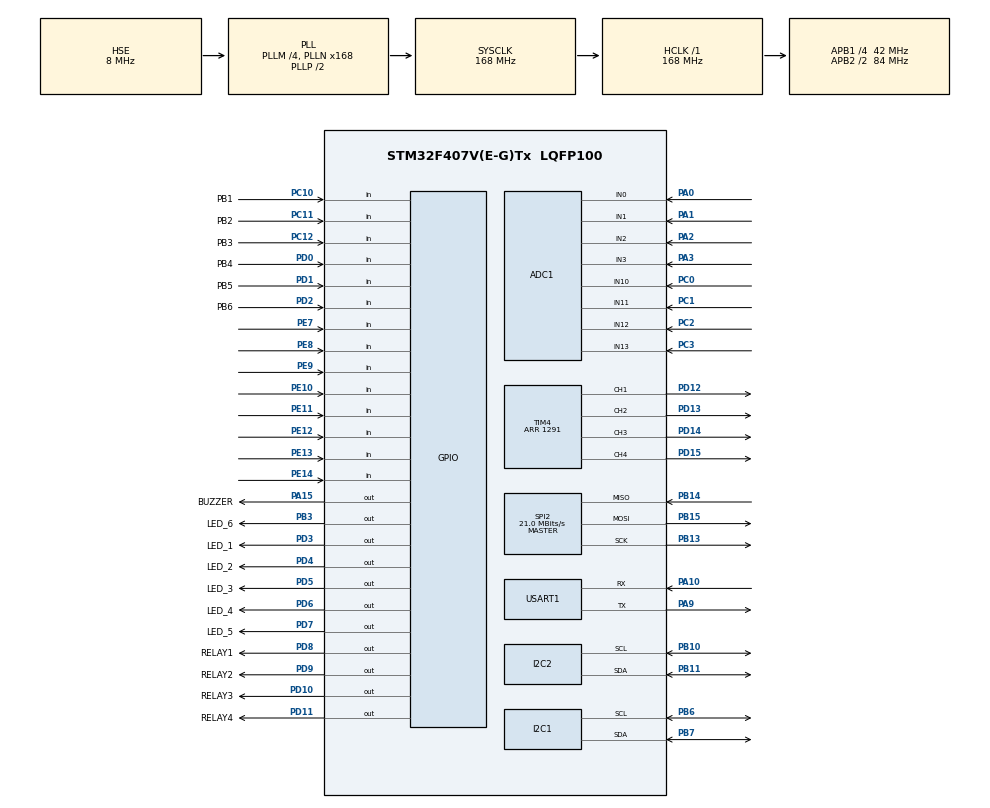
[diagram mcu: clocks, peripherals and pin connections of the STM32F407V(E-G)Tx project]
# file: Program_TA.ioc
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ADC1.Channel-0\#ChannelRegularConversion=ADC_CHANNEL_0
ADC1.Channel-2\#ChannelRegularConversion=ADC_CHANNEL_1
ADC1.Channel-3\#ChannelRegularConversion=ADC_CHANNEL_2
ADC1.Channel-4\#ChannelRegularConversion=ADC_CHANNEL_3
ADC1.Channel-5\#ChannelRegularConversion=ADC_CHANNEL_10
ADC1.Channel-6\#ChannelRegularConversion=ADC_CHANNEL_11
ADC1.Channel-7\#ChannelRegularConversion=ADC_CHANNEL_12
ADC1.Channel-8\#ChannelRegularConversion=ADC_CHANNEL_13
ADC1.ClockPrescaler=ADC_CLOCK_SYNC_PCLK_DIV4
ADC1.ContinuousConvMode=ENABLE
ADC1.DMAContinuousRequests=ENABLE
ADC1.InjNumberOfConversion=0
ADC1.NbrOfConversion=8
ADC1.NbrOfConversionFlag=1
ADC1.Rank-0\#ChannelRegularConversion=1
ADC1.Rank-2\#ChannelRegularConversion=2
ADC1.Rank-3\#ChannelRegularConversion=3
ADC1.Rank-4\#ChannelRegularConversion=4
ADC1.Rank-5\#ChannelRegularConversion=5
ADC1.Rank-6\#ChannelRegularConversion=6
ADC1.Rank-7\#ChannelRegularConversion=7
ADC1.Rank-8\#ChannelRegularConversion=8
ADC1.SamplingTime-0\#ChannelRegularConversion=ADC_SAMPLETIME_480CYCLES
ADC1.SamplingTime-2\#ChannelRegularConversion=ADC_SAMPLETIME_480CYCLES
ADC1.SamplingTime-3\#ChannelRegularConversion=ADC_SAMPLETIME_480CYCLES
ADC1.SamplingTime-4\#ChannelRegularConversion=ADC_SAMPLETIME_480CYCLES
ADC1.SamplingTime-5\#ChannelRegularConversion=ADC_SAMPLETIME_480CYCLES
ADC1.SamplingTime-6\#ChannelRegularConversion=ADC_SAMPLETIME_480CYCLES
ADC1.SamplingTime-7\#ChannelRegularConversion=ADC_SAMPLETIME_480CYCLES
ADC1.SamplingTime-8\#ChannelRegularConversion=ADC_SAMPLETIME_480CYCLES
ADC1.ScanConvMode=ENABLE
ADC1.master=1
Dma.ADC1.0.Direction=DMA_PERIPH_TO_MEMORY
Dma.ADC1.0.FIFOMode=DMA_FIFOMODE_DISABLE
Dma.ADC1.0.Instance=DMA2_Stream0
Dma.ADC1.0.MemDataAlignment=DMA_MDATAALIGN_HALFWORD
Dma.ADC1.0.MemInc=DMA_MINC_ENABLE
Dma.ADC1.0.Mode=DMA_CIRCULAR
Dma.ADC1.0.PeriphDataAlignment=DMA_PDATAALIGN_HALFWORD
Dma.ADC1.0.PeriphInc=DMA_PINC_DISABLE
Dma.ADC1.0.Priority=DMA_PRIORITY_LOW
Dma.Request0=ADC1
Dma.Request1=USART1_RX
Dma.Request2=USART1_TX
Dma.USART1_RX.1.Direction=DMA_PERIPH_TO_MEMORY
Dma.USART1_RX.1.FIFOMode=DMA_FIFOMODE_DISABLE
Dma.USART1_RX.1.Instance=DMA2_Stream2
Dma.USART1_RX.1.MemDataAlignment=DMA_MDATAALIGN_BYTE
Dma.USART1_RX.1.MemInc=DMA_MINC_ENABLE
Dma.USART1_RX.1.Mode=DMA_CIRCULAR
Dma.USART1_RX.1.PeriphDataAlignment=DMA_PDATAALIGN_BYTE
Dma.USART1_RX.1.PeriphInc=DMA_PINC_DISABLE
Dma.USART1_RX.1.Priority=DMA_PRIORITY_LOW
Dma.USART1_TX.2.Direction=DMA_MEMORY_TO_PERIPH
Dma.USART1_TX.2.FIFOMode=DMA_FIFOMODE_DISABLE
Dma.USART1_TX.2.Instance=DMA2_Stream7
Dma.USART1_TX.2.MemDataAlignment=DMA_MDATAALIGN_BYTE
Dma.USART1_TX.2.MemInc=DMA_MINC_ENABLE
Dma.USART1_TX.2.Mode=DMA_CIRCULAR
Dma.USART1_TX.2.PeriphDataAlignment=DMA_PDATAALIGN_BYTE
Dma.USART1_TX.2.PeriphInc=DMA_PINC_DISABLE
Dma.USART1_TX.2.Priority=DMA_PRIORITY_LOW
Mcu.Family=STM32F4
Mcu.Name=STM32F407V(E-G)Tx
Mcu.Package=LQFP100
NVIC.DMA2_Stream0_IRQn=true\:0\:0\:false\:false\:true\:false\:true\:true
NVIC.DMA2_Stream2_IRQn=true\:0\:0\:false\:false\:true\:false\:true\:true
NVIC.DMA2_Stream7_IRQn=true\:0\:0\:false\:false\:true\:false\:true\:true
NVIC.PriorityGroup=NVIC_PRIORITYGROUP_4
NVIC.TIM1_BRK_TIM9_IRQn=true\:0\:0\:false\:false\:true\:true\:true\:true
NVIC.USART1_IRQn=true\:0\:0\:false\:false\:true\:true\:true\:true
PA0-WKUP.Signal=ADCx_IN0
PA1.Signal=ADCx_IN1
PA10.Mode=Asynchronous
PA10.Signal=USART1_RX
PA13.Mode=Serial_Wire
PA13.Signal=SYS_JTMS-SWDIO
PA14.Mode=Serial_Wire
PA14.Signal=SYS_JTCK-SWCLK
PA15.GPIO_Label=BUZZER
PA15.PinState=GPIO_PIN_SET
PA15.Signal=GPIO_Output
PA2.Signal=ADCx_IN2
PA3.Signal=ADCx_IN3
PA9.Mode=Asynchronous
PA9.Signal=USART1_TX
PB10.Mode=I2C
PB10.Signal=I2C2_SCL
PB11.Mode=I2C
PB11.Signal=I2C2_SDA
PB13.Mode=Full_Duplex_Master
PB13.Signal=SPI2_SCK
PB14.Mode=Full_Duplex_Master
PB14.Signal=SPI2_MISO
PB15.Mode=Full_Duplex_Master
PB15.Signal=SPI2_MOSI
PB3.GPIO_Label=LED_6
PB3.Signal=GPIO_Output
PB6.Mode=I2C
PB6.Signal=I2C1_SCL
PB7.Mode=I2C
PB7.Signal=I2C1_SDA
PC0.Signal=ADCx_IN10
PC1.Signal=ADCx_IN11
PC10.GPIO_Label=PB1
PC10.GPIO_PuPd=GPIO_PULLUP
PC10.Signal=GPIO_Input
PC11.GPIO_Label=PB2
PC11.GPIO_PuPd=GPIO_PULLUP
PC11.Signal=GPIO_Input
PC12.GPIO_Label=PB3
PC12.GPIO_PuPd=GPIO_PULLUP
PC12.Signal=GPIO_Input
PC2.Signal=ADCx_IN12
PC3.Signal=ADCx_IN13
PD0.GPIO_Label=PB4
PD0.GPIO_PuPd=GPIO_PULLUP
PD0.Signal=GPIO_Input
PD1.GPIO_Label=PB5
PD1.GPIO_PuPd=GPIO_PULLUP
PD1.Signal=GPIO_Input
PD10.GPIO_Label=RELAY3
PD10.Signal=GPIO_Output
PD11.GPIO_Label=RELAY4
PD11.Signal=GPIO_Output
PD12.Signal=S_TIM4_CH1
PD13.Signal=S_TIM4_CH2
PD14.Signal=S_TIM4_CH3
PD15.Signal=S_TIM4_CH4
PD2.GPIO_Label=PB6
PD2.GPIO_PuPd=GPIO_PULLUP
PD2.Signal=GPIO_Input
PD3.GPIO_Label=LED_1
PD3.Signal=GPIO_Output
PD4.GPIO_Label=LED_2
PD4.Signal=GPIO_Output
PD5.GPIO_Label=LED_3
PD5.Signal=GPIO_Output
PD6.GPIO_Label=LED_4
PD6.Signal=GPIO_Output
PD7.GPIO_Label=LED_5
PD7.Signal=GPIO_Output
PD8.GPIO_Label=RELAY1
PD8.Signal=GPIO_Output
PD9.GPIO_Label=RELAY2
PD9.Signal=GPIO_Output
PE10.Signal=GPIO_Input
PE11.Signal=GPIO_Input
PE12.Signal=GPIO_Input
PE13.Signal=GPIO_Input
PE14.Signal=GPIO_Input
PE7.Signal=GPIO_Input
PE8.Signal=GPIO_Input
PE9.Signal=GPIO_Input
PH0-OSC_IN.Mode=HSE-External-Oscillator
PH0-OSC_IN.Signal=RCC_OSC_IN
PH1-OSC_OUT.Mode=HSE-External-Oscillator
PH1-OSC_OUT.Signal=RCC_OSC_OUT
ProjectManager.HeapSize=0x200
ProjectManager.StackSize=0x400
ProjectManager.TargetToolchain=CMake
RCC.48MHZClocksFreq_Value=84000000
RCC.AHBFreq_Value=168000000
RCC.APB1CLKDivider=RCC_HCLK_DIV4
RCC.APB1Freq_Value=42000000
RCC.APB1TimFreq_Value=84000000
RCC.APB2CLKDivider=RCC_HCLK_DIV2
RCC.APB2Freq_Value=84000000
RCC.APB2TimFreq_Value=168000000
RCC.CortexFreq_Value=168000000
RCC.HCLKFreq_Value=168000000
RCC.HSE_VALUE=8000000
RCC.HSI_VALUE=16000000
RCC.LSE_VALUE=32768
RCC.PLLM=4
RCC.PLLN=168
RCC.PLLSourceVirtual=RCC_PLLSOURCE_HSE
RCC.SYSCLKFreq_VALUE=168000000
RCC.SYSCLKSource=RCC_SYSCLKSOURCE_PLLCLK
RCC.VCOOutputFreq_Value=336000000
SH.ADCx_IN0.0=ADC1_IN0,IN0
SH.ADCx_IN1.0=ADC1_IN1,IN1
SH.ADCx_IN10.0=ADC1_IN10,IN10
SH.ADCx_IN11.0=ADC1_IN11,IN11
SH.ADCx_IN12.0=ADC1_IN12,IN12
SH.ADCx_IN13.0=ADC1_IN13,IN13
SH.ADCx_IN2.0=ADC1_IN2,IN2
SH.ADCx_IN3.0=ADC1_IN3,IN3
SH.S_TIM4_CH1.0=TIM4_CH1,PWM Generation1 CH1
SH.S_TIM4_CH2.0=TIM4_CH2,PWM Generation2 CH2
SH.S_TIM4_CH3.0=TIM4_CH3,PWM Generation3 CH3
SH.S_TIM4_CH4.0=TIM4_CH4,PWM Generation4 CH4
SPI2.BaudRatePrescaler=SPI_BAUDRATEPRESCALER_2
SPI2.CalculateBaudRate=21.0 MBits/s
SPI2.Direction=SPI_DIRECTION_2LINES
SPI2.Mode=SPI_MODE_MASTER
SPI2.VirtualType=VM_MASTER
TIM4.AutoReloadPreload=TIM_AUTORELOAD_PRELOAD_ENABLE
TIM4.Channel-PWM\ Generation1\ CH1=TIM_CHANNEL_1
TIM4.Channel-PWM\ Generation2\ CH2=TIM_CHANNEL_2
TIM4.Channel-PWM\ Generation3\ CH3=TIM_CHANNEL_3
TIM4.Channel-PWM\ Generation4\ CH4=TIM_CHANNEL_4
TIM4.Period=1291
TIM9.AutoReloadPreload=TIM_AUTORELOAD_PRELOAD_ENABLE
TIM9.Period=99
TIM9.Prescaler=16799
USART1.VirtualMode=VM_ASYNC
VP_TIM4_VS_ClockSourceINT.Mode=Internal
VP_TIM9_VS_ClockSourceINT.Mode=Internal
board=custom

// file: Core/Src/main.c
/* USER CODE BEGIN Header */
/**
 ******************************************************************************
 * @file           : main.c
 * @brief          : Hardware Controlled MPPT + Anti-EMI Debounce + Slow GMPP Sweep + UART RX
 ******************************************************************************
 */
/* USER CODE END Header */
#include "main.h"

/* USER CODE BEGIN Includes */
#include <math.h>
#include "stdlib.h"
#include "string.h"
#include "stdio.h"
#include "i2c_lcd.h"
#include "mppt_algo.h"
/* USER CODE END Includes */

/* USER CODE BEGIN PD */
const uint32_t PWM_PERIOD_TICKS = 1291;
#define LCD_I2C_ADDRESS 0x27
#define UART_TX_INTERVAL_MS 100U
#define LCD_UPDATE_INTERVAL_MS 300U
#define MAIN_LOOP_DELAY_MS 10U
/* USER CODE END PD */

ADC_HandleTypeDef hadc1;
DMA_HandleTypeDef hdma_adc1;

I2C_HandleTypeDef hi2c1;
I2C_HandleTypeDef hi2c2;

SPI_HandleTypeDef hspi2;

TIM_HandleTypeDef htim4;
TIM_HandleTypeDef htim9;

UART_HandleTypeDef huart1;
DMA_HandleTypeDef hdma_usart1_rx;
DMA_HandleTypeDef hdma_usart1_tx;

/* USER CODE BEGIN PV */
static I2C_LCD_HandleTypeDef lcd_handle;
char uart_tx_buf[256];

// --- BUFFER ADC (DMA) ---
__IO uint16_t ADC_dma_buffer[8];

const uint8_t LCD_I2C_8BIT_ADDRESS = 0x4E;

// --- Konstanta Kalibrasi SENSOR ---
const float V_M_IN = 0.096227f;   // Slope (m)
const float V_C_IN = -152.9939f;  // Intercept (c)

const float FAKTOR_SKALA_I_IN = 0.006924f;
const float ADC_OFFSET_I_IN = 1915.0f;

const float V_M_OUT = 0.022194f;
const float V_C_OUT = -35.235832f;

const float FAKTOR_SKALA_I_OUT = 0.019387f;
const float ADC_OFFSET_I_OUT = 1915.0f;

// --- Variabel Filter (Smoothing) ---
const float ALPHA = 0.1f;
float adc_Vin_filt=0.0f, adc_Iin_filt=0.0f, adc_Vout_filt=0.0f, adc_Iout_filt=0.0f;

// --- Variabel Pengukuran ---
volatile float V_in=0, I_in=0, P_in=0;
volatile float V_out=0, I_out=0, P_out=0;
volatile float Eff_MPPT = 0.0f;

volatile float D_new      = 0.0f;
volatile float D_gate_est = 0.0f;

// --- STATE MACHINE ---
uint8_t is_running  = 1;
uint8_t mppt_mode   = 0;
float   manual_duty = 0.0f;

volatile float global_time_sec = 0.0f;
volatile float algo_time_sec   = 0.0f;

// --- BUFFER UART RECEIVE DARI PYTHON ---
uint8_t rx_data[1];
char rx_buffer[20];
uint8_t rx_index = 0;
/* USER CODE END PV */

void SystemClock_Config(void);
static void MX_GPIO_Init(void);
static void MX_DMA_Init(void);
static void MX_ADC1_Init(void);
static void MX_I2C1_Init(void);
static void MX_I2C2_Init(void);
static void MX_SPI2_Init(void);
static void MX_TIM4_Init(void);
static void MX_USART1_UART_Init(void);
static void MX_TIM9_Init(void);
/* USER CODE BEGIN PFP */
void MPPT_LCD_Init(I2C_HandleTypeDef *hi2c, uint8_t address);
void MPPT_LCD_ShowStartup(void);
void MPPT_SendData_UART(void);
void Cek_Push_Button(void);
/* USER CODE END PFP */

/* USER CODE BEGIN 0 */
// --- FUNGSI HELPER LCD ADAPTIF ---
void Format_LCD_Adaptif(char *buffer, const char *label, float val, const char *unit) {
    // Angka 99.95, 9.995 dipakai untuk mencegah bug "pembulatan naik".
    // Misal: 99.99 jika pakai %.2f akan dibulatkan jadi 100.00 (6 karakter/melebihi batas).
    if (val >= 999.5f) {
        snprintf(buffer, 16, "%s%5.0f%s", label, val, unit); // Contoh: " 1000"
    }
    else if (val >= 99.95f) {
        snprintf(buffer, 16, "%s%5.1f%s", label, val, unit); // Contoh: "100.5"
    }
    else if (val >= 9.995f) {
        snprintf(buffer, 16, "%s%5.2f%s", label, val, unit); // Contoh: "12.34"
    }
    else {
        snprintf(buffer, 16, "%s%5.3f%s", label, val, unit); // Contoh: "1.444"
    }
}
void HAL_TIM_PeriodElapsedCallback(TIM_HandleTypeDef *htim) {
    if (htim->Instance == TIM9) {

        uint32_t raw_Iin  = ADC_dma_buffer[0];
        uint32_t raw_Vin  = ADC_dma_buffer[1];
        uint32_t raw_Iout = ADC_dma_buffer[2];
        uint32_t raw_Vout = ADC_dma_buffer[3];

        static uint8_t filter_init = 0;
        if (filter_init == 0) {
            adc_Vin_filt  = (float)raw_Vin;
            adc_Iin_filt  = (float)raw_Iin;
            adc_Vout_filt = (float)raw_Vout;
            adc_Iout_filt = (float)raw_Iout;
            filter_init   = 1;
        }

        adc_Vin_filt  = (ALPHA * (float)raw_Vin)  + ((1.0f - ALPHA) * adc_Vin_filt);
        adc_Iin_filt  = (ALPHA * (float)raw_Iin)  + ((1.0f - ALPHA) * adc_Iin_filt);
        adc_Vout_filt = (ALPHA * (float)raw_Vout) + ((1.0f - ALPHA) * adc_Vout_filt);
        adc_Iout_filt = (ALPHA * (float)raw_Iout) + ((1.0f - ALPHA) * adc_Iout_filt);

        float temp_Vin = (adc_Vin_filt * V_M_IN) + V_C_IN;
        if (temp_Vin < 0.0f) temp_Vin = 0.0f;
        V_in = temp_Vin;

        float temp_Iin = (adc_Iin_filt - ADC_OFFSET_I_IN) * FAKTOR_SKALA_I_IN;
        if (temp_Iin < 0.0f) temp_Iin = 0.0f;
        I_in = temp_Iin;

        P_in = V_in * I_in;

        float temp_Vout = (adc_Vout_filt * V_M_OUT) + V_C_OUT;
        if (temp_Vout < 0.0f) temp_Vout = 0.0f;
        V_out = temp_Vout;

        float temp_Iout = (adc_Iout_filt - ADC_OFFSET_I_OUT) * FAKTOR_SKALA_I_OUT;
        if (temp_Iout < 0.0f) temp_Iout = 0.0f;
        I_out = temp_Iout;

        P_out    = V_out * I_out;
        Eff_MPPT = (P_in > 0.5f) ? (P_out / P_in) : 0.0f;

        if (is_running) {
            global_time_sec += 0.01f;
            algo_time_sec   += 0.01f;

            float target_d_desimal = D_new / 100.0f;

            switch (mppt_mode) {
                            case 0: target_d_desimal = manual_duty / 100.0f;           break;
                            case 1: target_d_desimal = Run_WODE(V_in, I_in, P_in);     break;
                            case 2: target_d_desimal = Run_WOA(V_in, I_in, P_in);      break;
                            case 3: target_d_desimal = Run_DE(V_in, I_in, P_in);       break;
                            case 4: target_d_desimal = Run_PnO(V_in, I_in, P_in);      break;
                            case 5:
                                // Durasi total 60 detik, naik 0.5% per step
                                if (algo_time_sec >= 60.0f) {
                                    algo_time_sec = 0.0f;
                                }
                                int step = (int)(algo_time_sec / 0.315f);
                                target_d_desimal = (float)step * 0.005f;
                                break;
                        }

            if (target_d_desimal > 0.95f) target_d_desimal = 0.95f;
            if (target_d_desimal < 0.0f)  target_d_desimal = 0.0f;

            D_new = target_d_desimal * 100.0f;
        } else {
            if (D_new > 95.0f) D_new = 95.0f;
            if (D_new < 0.0f)  D_new = 0.0f;
            manual_duty = D_new;
        }

        float final_d_desimal = D_new / 100.0f;
        D_gate_est = final_d_desimal;
        uint32_t pwm_pulse = (uint32_t)(final_d_desimal * (float)(PWM_PERIOD_TICKS - 1));
        __HAL_TIM_SET_COMPARE(&htim4, TIM_CHANNEL_1, pwm_pulse);
    }
}
/* USER CODE END 0 */

int main(void)
{

  /* MCU Configuration--------------------------------------------------------*/

  /* Reset of all peripherals, Initializes the Flash interface and the Systick. */
  HAL_Init();

  /* Configure the system clock */
  SystemClock_Config();

  /* Initialize all configured peripherals */
  MX_GPIO_Init();
  MX_DMA_Init();
  MX_ADC1_Init();
  MX_I2C1_Init();
  MX_I2C2_Init();
  MX_SPI2_Init();
  MX_TIM4_Init();
  MX_USART1_UART_Init();
  MX_TIM9_Init();
  /* USER CODE BEGIN 2 */
    MPPT_LCD_Init(&hi2c1, LCD_I2C_8BIT_ADDRESS);
    MPPT_LCD_ShowStartup();
    HAL_Delay(500);

    HAL_ADC_Start_DMA(&hadc1, (uint32_t*)ADC_dma_buffer, 8);
    HAL_TIM_PWM_Start(&htim4, TIM_CHANNEL_1);
    HAL_TIM_Base_Start_IT(&htim9);

    // Mulai dengarkan 1 karakter pertama dari Python
    HAL_UART_Receive_IT(&huart1, rx_data, 1);

    HAL_GPIO_WritePin(GPIOD, RELAY1_Pin, GPIO_PIN_SET);
  /* USER CODE END 2 */

  /* Infinite loop */
  while (1)
  {

    /* USER CODE BEGIN 3 */
        static uint32_t last_lcd_update_ms = 0U;
        static uint32_t last_uart_tx_ms = 0U;

        Cek_Push_Button(); // Tetap aktif sebagai fallback hardware

        uint32_t now_ms = HAL_GetTick();

        if ((now_ms - last_lcd_update_ms) >= LCD_UPDATE_INTERVAL_MS) {
            last_lcd_update_ms = now_ms;

            float v_in_l, i_in_l, p_in_l;
            float v_out_l, i_out_l, p_out_l;
            float eff_l, d_gate_l;

            __disable_irq();
            v_in_l   = V_in;   i_in_l   = I_in;   p_in_l   = P_in;
            v_out_l  = V_out;  i_out_l  = I_out;  p_out_l  = P_out;
            eff_l    = Eff_MPPT * 100.0f;
            d_gate_l = D_new;
            __enable_irq();

            char left[16], right[16];

            // Baris 0 (Tegangan)
            Format_LCD_Adaptif(left,  "Vin:", v_in_l, "V");
            Format_LCD_Adaptif(right, "Vo :", v_out_l, "V");
            lcd_gotoxy(&lcd_handle, 0,  0); lcd_puts(&lcd_handle, left);
            lcd_gotoxy(&lcd_handle, 10, 0); lcd_puts(&lcd_handle, right);

            // Baris 1 (Arus)
            Format_LCD_Adaptif(left,  "Iin:", i_in_l, "A");
            Format_LCD_Adaptif(right, "Io :", i_out_l, "A");
            lcd_gotoxy(&lcd_handle, 0,  1); lcd_puts(&lcd_handle, left);
            lcd_gotoxy(&lcd_handle, 10, 1); lcd_puts(&lcd_handle, right);

            // Baris 2 (Daya)
            Format_LCD_Adaptif(left,  "Pin:", p_in_l, "W");
            Format_LCD_Adaptif(right, "Po :", p_out_l, "W");
            lcd_gotoxy(&lcd_handle, 0,  2); lcd_puts(&lcd_handle, left);
            lcd_gotoxy(&lcd_handle, 10, 2); lcd_puts(&lcd_handle, right);

            // Baris 3 (Efisiensi & Duty Cycle)
            Format_LCD_Adaptif(left,  "Eff:", eff_l, "%");
            Format_LCD_Adaptif(right, "Dty:", d_gate_l, "%");
            lcd_gotoxy(&lcd_handle, 0,  3); lcd_puts(&lcd_handle, left);
            lcd_gotoxy(&lcd_handle, 10, 3); lcd_puts(&lcd_handle, right);
        }

        if ((now_ms - last_uart_tx_ms) >= UART_TX_INTERVAL_MS) {
            last_uart_tx_ms = now_ms;
            MPPT_SendData_UART();
        }

        HAL_Delay(MAIN_LOOP_DELAY_MS);
  /* USER CODE END 3 */
}
}

void SystemClock_Config(void)
{
  RCC_OscInitTypeDef RCC_OscInitStruct = {0};
  RCC_ClkInitTypeDef RCC_ClkInitStruct = {0};

  /** Configure the main internal regulator output voltage
  */
  __HAL_RCC_PWR_CLK_ENABLE();
  __HAL_PWR_VOLTAGESCALING_CONFIG(PWR_REGULATOR_VOLTAGE_SCALE1);

  /** Initializes the RCC Oscillators according to the specified parameters
  * in the RCC_OscInitTypeDef structure.
  */
  RCC_OscInitStruct.OscillatorType = RCC_OSCILLATORTYPE_HSE;
  RCC_OscInitStruct.HSEState = RCC_HSE_ON;
  RCC_OscInitStruct.PLL.PLLState = RCC_PLL_ON;
  RCC_OscInitStruct.PLL.PLLSource = RCC_PLLSOURCE_HSE;
  RCC_OscInitStruct.PLL.PLLM = 4;
  RCC_OscInitStruct.PLL.PLLN = 168;
  RCC_OscInitStruct.PLL.PLLP = RCC_PLLP_DIV2;
  RCC_OscInitStruct.PLL.PLLQ = 4;
  if (HAL_RCC_OscConfig(&RCC_OscInitStruct) != HAL_OK)
  {
    Error_Handler();
  }

  /** Initializes the CPU, AHB and APB buses clocks
  */
  RCC_ClkInitStruct.ClockType = RCC_CLOCKTYPE_HCLK|RCC_CLOCKTYPE_SYSCLK
                              |RCC_CLOCKTYPE_PCLK1|RCC_CLOCKTYPE_PCLK2;
  RCC_ClkInitStruct.SYSCLKSource = RCC_SYSCLKSOURCE_PLLCLK;
  RCC_ClkInitStruct.AHBCLKDivider = RCC_SYSCLK_DIV1;
  RCC_ClkInitStruct.APB1CLKDivider = RCC_HCLK_DIV4;
  RCC_ClkInitStruct.APB2CLKDivider = RCC_HCLK_DIV2;

  if (HAL_RCC_ClockConfig(&RCC_ClkInitStruct, FLASH_LATENCY_5) != HAL_OK)
  {
    Error_Handler();
  }
}

static void MX_ADC1_Init(void)
{

  ADC_ChannelConfTypeDef sConfig = {0};

  /** Configure the global features of the ADC (Clock, Resolution, Data Alignment and number of conversion)
  */
  hadc1.Instance = ADC1;
  hadc1.Init.ClockPrescaler = ADC_CLOCK_SYNC_PCLK_DIV4;
  hadc1.Init.Resolution = ADC_RESOLUTION_12B;
  hadc1.Init.ScanConvMode = ENABLE;
  hadc1.Init.ContinuousConvMode = ENABLE;
  hadc1.Init.DiscontinuousConvMode = DISABLE;
  hadc1.Init.ExternalTrigConvEdge = ADC_EXTERNALTRIGCONVEDGE_NONE;
  hadc1.Init.ExternalTrigConv = ADC_SOFTWARE_START;
  hadc1.Init.DataAlign = ADC_DATAALIGN_RIGHT;
  hadc1.Init.NbrOfConversion = 8;
  hadc1.Init.DMAContinuousRequests = ENABLE;
  hadc1.Init.EOCSelection = ADC_EOC_SINGLE_CONV;
  if (HAL_ADC_Init(&hadc1) != HAL_OK)
  {
    Error_Handler();
  }

  /** Configure for the selected ADC regular channel its corresponding rank in the sequencer and its sample time.
  */
  sConfig.Channel = ADC_CHANNEL_0;
  sConfig.Rank = 1;
  sConfig.SamplingTime = ADC_SAMPLETIME_480CYCLES;
  if (HAL_ADC_ConfigChannel(&hadc1, &sConfig) != HAL_OK)
  {
    Error_Handler();
  }

  /** Configure for the selected ADC regular channel its corresponding rank in the sequencer and its sample time.
  */
  sConfig.Channel = ADC_CHANNEL_1;
  sConfig.Rank = 2;
  if (HAL_ADC_ConfigChannel(&hadc1, &sConfig) != HAL_OK)
  {
    Error_Handler();
  }

  /** Configure for the selected ADC regular channel its corresponding rank in the sequencer and its sample time.
  */
  sConfig.Channel = ADC_CHANNEL_2;
  sConfig.Rank = 3;
  if (HAL_ADC_ConfigChannel(&hadc1, &sConfig) != HAL_OK)
  {
    Error_Handler();
  }

  /** Configure for the selected ADC regular channel its corresponding rank in the sequencer and its sample time.
  */
  sConfig.Channel = ADC_CHANNEL_3;
  sConfig.Rank = 4;
  if (HAL_ADC_ConfigChannel(&hadc1, &sConfig) != HAL_OK)
  {
    Error_Handler();
  }

  /** Configure for the selected ADC regular channel its corresponding rank in the sequencer and its sample time.
  */
  sConfig.Channel = ADC_CHANNEL_10;
  sConfig.Rank = 5;
  if (HAL_ADC_ConfigChannel(&hadc1, &sConfig) != HAL_OK)
  {
    Error_Handler();
  }

  /** Configure for the selected ADC regular channel its corresponding rank in the sequencer and its sample time.
  */
  sConfig.Channel = ADC_CHANNEL_11;
  sConfig.Rank = 6;
  if (HAL_ADC_ConfigChannel(&hadc1, &sConfig) != HAL_OK)
  {
    Error_Handler();
  }

  /** Configure for the selected ADC regular channel its corresponding rank in the sequencer and its sample time.
  */
  sConfig.Channel = ADC_CHANNEL_12;
  sConfig.Rank = 7;
  if (HAL_ADC_ConfigChannel(&hadc1, &sConfig) != HAL_OK)
  {
    Error_Handler();
  }

  /** Configure for the selected ADC regular channel its corresponding rank in the sequencer and its sample time.
  */
  sConfig.Channel = ADC_CHANNEL_13;
  sConfig.Rank = 8;
  if (HAL_ADC_ConfigChannel(&hadc1, &sConfig) != HAL_OK)
  {
    Error_Handler();
  }

}

static void MX_I2C1_Init(void)
{

  hi2c1.Instance = I2C1;
  hi2c1.Init.ClockSpeed = 100000;
  hi2c1.Init.DutyCycle = I2C_DUTYCYCLE_2;
  hi2c1.Init.OwnAddress1 = 0;
  hi2c1.Init.AddressingMode = I2C_ADDRESSINGMODE_7BIT;
  hi2c1.Init.DualAddressMode = I2C_DUALADDRESS_DISABLE;
  hi2c1.Init.OwnAddress2 = 0;
  hi2c1.Init.GeneralCallMode = I2C_GENERALCALL_DISABLE;
  hi2c1.Init.NoStretchMode = I2C_NOSTRETCH_DISABLE;
  if (HAL_I2C_Init(&hi2c1) != HAL_OK)
  {
    Error_Handler();
  }

}

static void MX_I2C2_Init(void)
{

  hi2c2.Instance = I2C2;
  hi2c2.Init.ClockSpeed = 100000;
  hi2c2.Init.DutyCycle = I2C_DUTYCYCLE_2;
  hi2c2.Init.OwnAddress1 = 0;
  hi2c2.Init.AddressingMode = I2C_ADDRESSINGMODE_7BIT;
  hi2c2.Init.DualAddressMode = I2C_DUALADDRESS_DISABLE;
  hi2c2.Init.OwnAddress2 = 0;
  hi2c2.Init.GeneralCallMode = I2C_GENERALCALL_DISABLE;
  hi2c2.Init.NoStretchMode = I2C_NOSTRETCH_DISABLE;
  if (HAL_I2C_Init(&hi2c2) != HAL_OK)
  {
    Error_Handler();
  }

}

static void MX_SPI2_Init(void)
{

  /* SPI2 parameter configuration*/
  hspi2.Instance = SPI2;
  hspi2.Init.Mode = SPI_MODE_MASTER;
  hspi2.Init.Direction = SPI_DIRECTION_2LINES;
  hspi2.Init.DataSize = SPI_DATASIZE_8BIT;
  hspi2.Init.CLKPolarity = SPI_POLARITY_LOW;
  hspi2.Init.CLKPhase = SPI_PHASE_1EDGE;
  hspi2.Init.NSS = SPI_NSS_SOFT;
  hspi2.Init.BaudRatePrescaler = SPI_BAUDRATEPRESCALER_2;
  hspi2.Init.FirstBit = SPI_FIRSTBIT_MSB;
  hspi2.Init.TIMode = SPI_TIMODE_DISABLE;
  hspi2.Init.CRCCalculation = SPI_CRCCALCULATION_DISABLE;
  hspi2.Init.CRCPolynomial = 10;
  if (HAL_SPI_Init(&hspi2) != HAL_OK)
  {
    Error_Handler();
  }

}

static void MX_TIM4_Init(void)
{

  TIM_ClockConfigTypeDef sClockSourceConfig = {0};
  TIM_MasterConfigTypeDef sMasterConfig = {0};
  TIM_OC_InitTypeDef sConfigOC = {0};

  htim4.Instance = TIM4;
  htim4.Init.Prescaler = 0;
  htim4.Init.CounterMode = TIM_COUNTERMODE_UP;
  htim4.Init.Period = 1291;
  htim4.Init.ClockDivision = TIM_CLOCKDIVISION_DIV1;
  htim4.Init.AutoReloadPreload = TIM_AUTORELOAD_PRELOAD_ENABLE;
  if (HAL_TIM_Base_Init(&htim4) != HAL_OK)
  {
    Error_Handler();
  }
  sClockSourceConfig.ClockSource = TIM_CLOCKSOURCE_INTERNAL;
  if (HAL_TIM_ConfigClockSource(&htim4, &sClockSourceConfig) != HAL_OK)
  {
    Error_Handler();
  }
  if (HAL_TIM_PWM_Init(&htim4) != HAL_OK)
  {
    Error_Handler();
  }
  sMasterConfig.MasterOutputTrigger = TIM_TRGO_RESET;
  sMasterConfig.MasterSlaveMode = TIM_MASTERSLAVEMODE_DISABLE;
  if (HAL_TIMEx_MasterConfigSynchronization(&htim4, &sMasterConfig) != HAL_OK)
  {
    Error_Handler();
  }
  sConfigOC.OCMode = TIM_OCMODE_PWM1;
  sConfigOC.Pulse = 0;
  sConfigOC.OCPolarity = TIM_OCPOLARITY_HIGH;
  sConfigOC.OCFastMode = TIM_OCFAST_DISABLE;
  if (HAL_TIM_PWM_ConfigChannel(&htim4, &sConfigOC, TIM_CHANNEL_1) != HAL_OK)
  {
    Error_Handler();
  }
  if (HAL_TIM_PWM_ConfigChannel(&htim4, &sConfigOC, TIM_CHANNEL_2) != HAL_OK)
  {
    Error_Handler();
  }
  if (HAL_TIM_PWM_ConfigChannel(&htim4, &sConfigOC, TIM_CHANNEL_3) != HAL_OK)
  {
    Error_Handler();
  }
  if (HAL_TIM_PWM_ConfigChannel(&htim4, &sConfigOC, TIM_CHANNEL_4) != HAL_OK)
  {
    Error_Handler();
  }
  HAL_TIM_MspPostInit(&htim4);

}

static void MX_TIM9_Init(void)
{

  TIM_ClockConfigTypeDef sClockSourceConfig = {0};

  htim9.Instance = TIM9;
  htim9.Init.Prescaler = 16799;
  htim9.Init.CounterMode = TIM_COUNTERMODE_UP;
  htim9.Init.Period = 99;
  htim9.Init.ClockDivision = TIM_CLOCKDIVISION_DIV1;
  htim9.Init.AutoReloadPreload = TIM_AUTORELOAD_PRELOAD_ENABLE;
  if (HAL_TIM_Base_Init(&htim9) != HAL_OK)
  {
    Error_Handler();
  }
  sClockSourceConfig.ClockSource = TIM_CLOCKSOURCE_INTERNAL;
  if (HAL_TIM_ConfigClockSource(&htim9, &sClockSourceConfig) != HAL_OK)
  {
    Error_Handler();
  }

}

static void MX_USART1_UART_Init(void)
{

  huart1.Instance = USART1;
  huart1.Init.BaudRate = 115200;
  huart1.Init.WordLength = UART_WORDLENGTH_8B;
  huart1.Init.StopBits = UART_STOPBITS_1;
  huart1.Init.Parity = UART_PARITY_NONE;
  huart1.Init.Mode = UART_MODE_TX_RX;
  huart1.Init.HwFlowCtl = UART_HWCONTROL_NONE;
  huart1.Init.OverSampling = UART_OVERSAMPLING_16;
  if (HAL_UART_Init(&huart1) != HAL_OK)
  {
    Error_Handler();
  }

}

static void MX_DMA_Init(void)
{

  /* DMA controller clock enable */
  __HAL_RCC_DMA2_CLK_ENABLE();

  /* DMA interrupt init */
  /* DMA2_Stream0_IRQn interrupt configuration */
  HAL_NVIC_SetPriority(DMA2_Stream0_IRQn, 0, 0);
  HAL_NVIC_EnableIRQ(DMA2_Stream0_IRQn);
  /* DMA2_Stream2_IRQn interrupt configuration */
  HAL_NVIC_SetPriority(DMA2_Stream2_IRQn, 0, 0);
  HAL_NVIC_EnableIRQ(DMA2_Stream2_IRQn);
  /* DMA2_Stream7_IRQn interrupt configuration */
  HAL_NVIC_SetPriority(DMA2_Stream7_IRQn, 0, 0);
  HAL_NVIC_EnableIRQ(DMA2_Stream7_IRQn);

}

static void MX_GPIO_Init(void)
{
  GPIO_InitTypeDef GPIO_InitStruct = {0};

  /* GPIO Ports Clock Enable */
  __HAL_RCC_GPIOH_CLK_ENABLE();
  __HAL_RCC_GPIOC_CLK_ENABLE();
  __HAL_RCC_GPIOA_CLK_ENABLE();
  __HAL_RCC_GPIOE_CLK_ENABLE();
  __HAL_RCC_GPIOB_CLK_ENABLE();
  __HAL_RCC_GPIOD_CLK_ENABLE();

  /*Configure GPIO pin Output Level */
  HAL_GPIO_WritePin(GPIOD, RELAY1_Pin|RELAY2_Pin|RELAY3_Pin|RELAY4_Pin
                          |LED_1_Pin|LED_2_Pin|LED_3_Pin|LED_4_Pin
                          |LED_5_Pin, GPIO_PIN_RESET);

  /*Configure GPIO pin Output Level */
  HAL_GPIO_WritePin(BUZZER_GPIO_Port, BUZZER_Pin, GPIO_PIN_SET);

  /*Configure GPIO pin Output Level */
  HAL_GPIO_WritePin(LED_6_GPIO_Port, LED_6_Pin, GPIO_PIN_RESET);

  /*Configure GPIO pins : PE7 PE8 PE9 PE10
                           PE11 PE12 PE13 PE14 */
  GPIO_InitStruct.Pin = GPIO_PIN_7|GPIO_PIN_8|GPIO_PIN_9|GPIO_PIN_10
                          |GPIO_PIN_11|GPIO_PIN_12|GPIO_PIN_13|GPIO_PIN_14;
  GPIO_InitStruct.Mode = GPIO_MODE_INPUT;
  GPIO_InitStruct.Pull = GPIO_NOPULL;
  HAL_GPIO_Init(GPIOE, &GPIO_InitStruct);

  /*Configure GPIO pins : RELAY1_Pin RELAY2_Pin RELAY3_Pin RELAY4_Pin
                           LED_1_Pin LED_2_Pin LED_3_Pin LED_4_Pin
                           LED_5_Pin */
  GPIO_InitStruct.Pin = RELAY1_Pin|RELAY2_Pin|RELAY3_Pin|RELAY4_Pin
                          |LED_1_Pin|LED_2_Pin|LED_3_Pin|LED_4_Pin
                          |LED_5_Pin;
  GPIO_InitStruct.Mode = GPIO_MODE_OUTPUT_PP;
  GPIO_InitStruct.Pull = GPIO_NOPULL;
  GPIO_InitStruct.Speed = GPIO_SPEED_FREQ_LOW;
  HAL_GPIO_Init(GPIOD, &GPIO_InitStruct);

  /*Configure GPIO pin : BUZZER_Pin */
  GPIO_InitStruct.Pin = BUZZER_Pin;
  GPIO_InitStruct.Mode = GPIO_MODE_OUTPUT_PP;
  GPIO_InitStruct.Pull = GPIO_NOPULL;
  GPIO_InitStruct.Speed = GPIO_SPEED_FREQ_LOW;
  HAL_GPIO_Init(BUZZER_GPIO_Port, &GPIO_InitStruct);

  /*Configure GPIO pins : PB1_Pin PB2_Pin PB3_Pin */
  GPIO_InitStruct.Pin = PB1_Pin|PB2_Pin|PB3_Pin;
  GPIO_InitStruct.Mode = GPIO_MODE_INPUT;
  GPIO_InitStruct.Pull = GPIO_PULLUP;
  HAL_GPIO_Init(GPIOC, &GPIO_InitStruct);

  /*Configure GPIO pins : PB4_Pin PB5_Pin PB6_Pin */
  GPIO_InitStruct.Pin = PB4_Pin|PB5_Pin|PB6_Pin;
  GPIO_InitStruct.Mode = GPIO_MODE_INPUT;
  GPIO_InitStruct.Pull = GPIO_PULLUP;
  HAL_GPIO_Init(GPIOD, &GPIO_InitStruct);

  /*Configure GPIO pin : LED_6_Pin */
  GPIO_InitStruct.Pin = LED_6_Pin;
  GPIO_InitStruct.Mode = GPIO_MODE_OUTPUT_PP;
  GPIO_InitStruct.Pull = GPIO_NOPULL;
  GPIO_InitStruct.Speed = GPIO_SPEED_FREQ_LOW;
  HAL_GPIO_Init(LED_6_GPIO_Port, &GPIO_InitStruct);

}

/* USER CODE BEGIN 4 */

void Cek_Push_Button(void) {
    if (HAL_GPIO_ReadPin(GPIOC, GPIO_PIN_10) == GPIO_PIN_RESET) {
        HAL_Delay(150);
        if (HAL_GPIO_ReadPin(GPIOC, GPIO_PIN_10) == GPIO_PIN_RESET) {
            mppt_mode = 1; is_running = 1; algo_time_sec = 0.0f; global_time_sec = 0.0f; Reset_All_Algorithms();
            while(HAL_GPIO_ReadPin(GPIOC, GPIO_PIN_10) == GPIO_PIN_RESET);
        }
    }
    else if (HAL_GPIO_ReadPin(GPIOC, GPIO_PIN_11) == GPIO_PIN_RESET) {
        HAL_Delay(150);
        if (HAL_GPIO_ReadPin(GPIOC, GPIO_PIN_11) == GPIO_PIN_RESET) {
            mppt_mode = 2; is_running = 1; algo_time_sec = 0.0f; global_time_sec = 0.0f; Reset_All_Algorithms();
            while(HAL_GPIO_ReadPin(GPIOC, GPIO_PIN_11) == GPIO_PIN_RESET);
        }
    }
    else if (HAL_GPIO_ReadPin(GPIOC, GPIO_PIN_12) == GPIO_PIN_RESET) {
        HAL_Delay(150);
        if (HAL_GPIO_ReadPin(GPIOC, GPIO_PIN_12) == GPIO_PIN_RESET) {
            mppt_mode = 3; is_running = 1; algo_time_sec = 0.0f; global_time_sec = 0.0f; Reset_All_Algorithms();
            while(HAL_GPIO_ReadPin(GPIOC, GPIO_PIN_12) == GPIO_PIN_RESET);
        }
    }
    else if (HAL_GPIO_ReadPin(GPIOD, GPIO_PIN_0) == GPIO_PIN_RESET) {
        HAL_Delay(150);
        if (HAL_GPIO_ReadPin(GPIOD, GPIO_PIN_0) == GPIO_PIN_RESET) {
            mppt_mode = 4; is_running = 1; algo_time_sec = 0.0f; global_time_sec = 0.0f; Reset_All_Algorithms();
            while(HAL_GPIO_ReadPin(GPIOD, GPIO_PIN_0) == GPIO_PIN_RESET);
        }
    }
    else if (HAL_GPIO_ReadPin(GPIOD, GPIO_PIN_1) == GPIO_PIN_RESET) {
        HAL_Delay(150);
        if (HAL_GPIO_ReadPin(GPIOD, GPIO_PIN_1) == GPIO_PIN_RESET) {
            mppt_mode = 5; is_running = 1; algo_time_sec = 0.0f; global_time_sec = 0.0f;
            while(HAL_GPIO_ReadPin(GPIOD, GPIO_PIN_1) == GPIO_PIN_RESET);
        }
    }
    else if (HAL_GPIO_ReadPin(GPIOD, GPIO_PIN_2) == GPIO_PIN_RESET) {
        HAL_Delay(150);
        if (HAL_GPIO_ReadPin(GPIOD, GPIO_PIN_2) == GPIO_PIN_RESET) {
            mppt_mode = 0; is_running = 1; manual_duty = 0.0f; D_new = 0.0f;
            while(HAL_GPIO_ReadPin(GPIOD, GPIO_PIN_2) == GPIO_PIN_RESET);
        }
    }
}

void MPPT_LCD_Init(I2C_HandleTypeDef *hi2c, uint8_t address) {
    lcd_handle.hi2c    = hi2c;
    lcd_handle.address = address;
    lcd_init(&lcd_handle);
}

void MPPT_LCD_ShowStartup(void) {
    lcd_clear(&lcd_handle);
    lcd_puts(&lcd_handle, "Sistem Siap...");
}

void MPPT_SendData_UART(void) {
    float time_sec = HAL_GetTick() / 1000.0f;
    float v_in_local, i_in_local, p_in_local;
    float v_out_local, i_out_local, p_out_local;
    float eff_local, d_local;
    uint8_t mode_local;

    __disable_irq();
    v_in_local  = V_in;   i_in_local  = I_in;   p_in_local  = P_in;
    v_out_local = V_out;  i_out_local = I_out;  p_out_local = P_out;
    eff_local   = Eff_MPPT * 100.0f;
    d_local     = D_new;
    mode_local  = mppt_mode;
    __enable_irq();

    int len = snprintf(uart_tx_buf, sizeof(uart_tx_buf),
        "%.3f\t%.2f\t%.2f\t%.2f\t%.2f\t%.2f\t%.2f\t%.1f\t%d\t%.1f\r\n",
        time_sec, v_in_local, i_in_local, p_in_local,
        v_out_local, i_out_local, p_out_local,
        eff_local, (int)mode_local, d_local);

    if (len > 0) {
        HAL_UART_Transmit(&huart1, (uint8_t*)uart_tx_buf, len, 100);
    }
}

// --- FUNGSI PENERIMA PERINTAH DARI PYTHON ---
void HAL_UART_RxCpltCallback(UART_HandleTypeDef *huart) {
    if (huart->Instance == USART1) {
        if (rx_data[0] == '\n' || rx_data[0] == '\r') {
            rx_buffer[rx_index] = '\0';

            if (strcmp(rx_buffer, "MODE=0") == 0) {
                mppt_mode = 0; is_running = 1; manual_duty = 0.0f; D_new = 0.0f;
            }
            else if (strcmp(rx_buffer, "MODE=1") == 0) {
                mppt_mode = 1; is_running = 1; algo_time_sec = 0.0f; global_time_sec = 0.0f; Reset_All_Algorithms();
            }
            else if (strcmp(rx_buffer, "MODE=2") == 0) {
                mppt_mode = 2; is_running = 1; algo_time_sec = 0.0f; global_time_sec = 0.0f; Reset_All_Algorithms();
            }
            else if (strcmp(rx_buffer, "MODE=3") == 0) {
                mppt_mode = 3; is_running = 1; algo_time_sec = 0.0f; global_time_sec = 0.0f; Reset_All_Algorithms();
            }
            else if (strcmp(rx_buffer, "MODE=4") == 0) {
                mppt_mode = 4; is_running = 1; algo_time_sec = 0.0f; global_time_sec = 0.0f; Reset_All_Algorithms();
            }
            else if (strcmp(rx_buffer, "MODE=5") == 0) {
                mppt_mode = 5; is_running = 1; algo_time_sec = 0.0f; global_time_sec = 0.0f;
            }

            rx_index = 0;
        } else {
            rx_buffer[rx_index++] = rx_data[0];
            if(rx_index >= 20) rx_index = 0;
        }
        HAL_UART_Receive_IT(&huart1, rx_data, 1);
    }
}
/* USER CODE END 4 */

void Error_Handler(void)
{
  __disable_irq();
  while (1)
  {
  }
}
